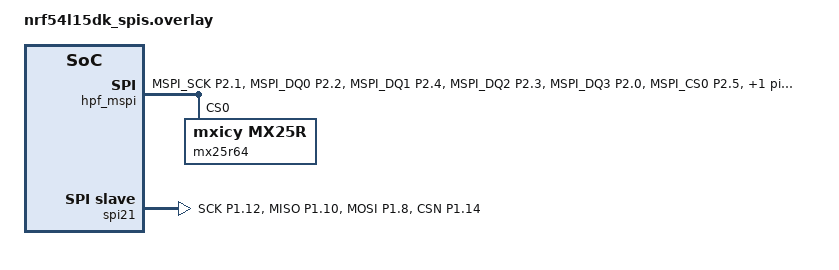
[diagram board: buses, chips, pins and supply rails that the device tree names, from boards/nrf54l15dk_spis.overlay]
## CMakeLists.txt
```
# Copyright (c) 2025 Nordic Semiconductor ASA
#
# SPDX-License-Identifier: LicenseRef-Nordic-5-Clause
#

cmake_minimum_required(VERSION 3.20.0)

find_package(Zephyr REQUIRED HINTS $ENV{ZEPHYR_BASE})
project(mspi_controller_peripheral)

FILE(GLOB app_sources src/main.c)

target_sources(app PRIVATE ${app_sources})
```

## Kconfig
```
# Copyright (c) 2025 Nordic Semiconductor ASA
#
# SPDX-License-Identifier: LicenseRef-Nordic-5-Clause
#

config TESTED_SPI_MODE
	int "SPI mode"
	default 0
	help
	  SPI mode value (clock polarity and phase) used in the test.
	  0: CPOL 0 (Active high), CPHA 0 (leading)
	  1: CPOL 0 (Active high), CPHA 1 (trailing)
	  2: CPOL 1 (Active low), CPHA 0 (leading)
	  3: CPOL 1 (Active low), CPHA 1 (trailing)

config TESTED_SPI_FREQUENCY
	int "SPI frequency"
	default 1000000
	help
	  SPI frequency used in the test, in Hz.

source "Kconfig.zephyr"
```

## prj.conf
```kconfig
CONFIG_GPIO=y
CONFIG_POLL=y
CONFIG_MBOX=y
CONFIG_IPC_SERVICE=y
CONFIG_IPC_SERVICE_BACKEND_ICMSG=y

CONFIG_SPI=y
CONFIG_SPI_SLAVE=y
CONFIG_SPI_ASYNC=y
CONFIG_MSPI=y

CONFIG_FLASH=y
CONFIG_FLASH_PAGE_LAYOUT=y

CONFIG_ZTEST=y

# Additional compiler flags
CONFIG_COMPILER_OPT="-fshort-enums"
```

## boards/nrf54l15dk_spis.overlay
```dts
/*
 * Copyright (c) 2025 Nordic Semiconductor ASA
 *
 * SPDX-License-Identifier: LicenseRef-Nordic-5-Clause
 */

/ {
	aliases {
		mspi0 = &hpf_mspi;
	};
};

&pinctrl {
	hpf_mspi_spi_default: hpf_mspi_spi_default {
		group1 {
			psels = <NRF_PSEL(HPF_MSPI_SCK, 2, 1)>,
				<NRF_PSEL(HPF_MSPI_DQ0, 2, 2)>,
				<NRF_PSEL(HPF_MSPI_DQ1, 2, 4)>,
				<NRF_PSEL(HPF_MSPI_DQ2, 2, 3)>,
				<NRF_PSEL(HPF_MSPI_DQ3, 2, 0)>,
				<NRF_PSEL(HPF_MSPI_CS0, 2, 5)>,
				<NRF_PSEL(HPF_MSPI_CS1, 2, 6)>;
			nordic,drive-mode = <NRF_DRIVE_S0S1>;
		};
	};

	hpf_mspi_spi_sleep: hpf_mspi_spi_sleep {
		group1 {
			psels = <NRF_PSEL(HPF_MSPI_SCK, 2, 1)>,
				<NRF_PSEL(HPF_MSPI_DQ0, 2, 2)>,
				<NRF_PSEL(HPF_MSPI_DQ1, 2, 4)>,
				<NRF_PSEL(HPF_MSPI_DQ2, 2, 3)>,
				<NRF_PSEL(HPF_MSPI_DQ3, 2, 0)>,
				<NRF_PSEL(HPF_MSPI_CS0, 2, 5)>,
				<NRF_PSEL(HPF_MSPI_CS1, 2, 6)>;
			low-power-enable;
		};
	};

	spi21_default_alt: spi21_default_alt {
		group1 {
			psels = <NRF_PSEL(SPIS_SCK, 1, 12)>,
				<NRF_PSEL(SPIS_MISO, 1, 10)>,
				<NRF_PSEL(SPIS_MOSI, 1, 8)>,
				<NRF_PSEL(SPIS_CSN, 1, 14)>;
		};
	};

	spi21_sleep_alt: spi21_sleep_alt {
		group1 {
			psels = <NRF_PSEL(SPIS_SCK, 1, 12)>,
				<NRF_PSEL(SPIS_MISO, 1, 10)>,
				<NRF_PSEL(SPIS_MOSI, 1, 8)>,
				<NRF_PSEL(SPIS_CSN, 1, 14)>;
			low-power-enable;
		};
	};
};

/delete-node/ &mx25r64;

&hpf_mspi {
	status = "okay";
	pinctrl-0 = <&hpf_mspi_spi_default>;
	pinctrl-1 = <&hpf_mspi_spi_sleep>;

	mx25r64: mx25r6435f@0 {
		compatible = "mxicy,mx25r","jedec,mspi-nor";
		status = "okay";
		reg = <0x0>;
		jedec-id = [c2 28 17];
		sfdp-bfp = [
			e5 20 f1 ff  ff ff ff 03  44 eb 08 6b  08 3b 04 bb
			ee ff ff ff  ff ff 00 ff  ff ff 00 ff  0c 20 0f 52
			10 d8 00 ff  23 72 f5 00  82 ed 04 cc  44 83 48 44
			30 b0 30 b0  f7 c4 d5 5c  00 be 29 ff  f0 d0 ff ff
		];
		size = <67108864>;
		has-dpd;
		t-enter-dpd = <10000>;
		t-exit-dpd = <35000>;
		t-reset-pulse = <10000>;
		t-reset-recovery = <35000>;

		mspi-max-frequency = <DT_FREQ_M(1)>;
		mspi-io-mode = "MSPI_IO_MODE_QUAD_1_4_4";
		mspi-data-rate = "MSPI_DATA_RATE_SINGLE";
		mspi-hardware-ce-num = <0>;
		mspi-cpp-mode = "MSPI_CPP_MODE_0";
		mspi-endian = "MSPI_BIG_ENDIAN";
		mspi-ce-polarity = "MSPI_CE_ACTIVE_LOW";

		quad-enable-requirements = "S1B6";
	};
};

dut_spis: &spi21 {
	compatible = "nordic,nrf-spis";
	status = "okay";
	def-char = <0x00>;
	pinctrl-0 = <&spi21_default_alt>;
	pinctrl-1 = <&spi21_sleep_alt>;
	pinctrl-names = "default", "sleep";
	/delete-property/rx-delay-supported;
	/delete-property/rx-delay;
};
```

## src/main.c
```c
/*
 * Copyright (c) 2025 Nordic Semiconductor ASA
 *
 * SPDX-License-Identifier: LicenseRef-Nordic-5-Clause
 */

#include <errno.h>
#include <string.h>
#include <zephyr/kernel.h>
#include <zephyr/devicetree.h>
#include <zephyr/drivers/mspi.h>
#include <zephyr/drivers/spi.h>
#include <zephyr/drivers/flash.h>
#include <zephyr/ztest.h>
#include <drivers/mspi/hpf_mspi.h>

#if CONFIG_TESTED_SPI_MODE == 0
#define SPI_MODE (SPI_WORD_SET(8) | SPI_LINES_SINGLE | SPI_TRANSFER_MSB)
#elif CONFIG_TESTED_SPI_MODE == 1
#define SPI_MODE (SPI_WORD_SET(8) | SPI_LINES_SINGLE | SPI_TRANSFER_LSB | SPI_MODE_CPHA)
#elif CONFIG_TESTED_SPI_MODE == 2
#define SPI_MODE (SPI_WORD_SET(8) | SPI_LINES_SINGLE | SPI_TRANSFER_LSB | SPI_MODE_CPOL)
#elif CONFIG_TESTED_SPI_MODE == 3
#define SPI_MODE                                                                                   \
	(SPI_WORD_SET(8) | SPI_LINES_SINGLE | SPI_TRANSFER_MSB | SPI_MODE_CPHA | SPI_MODE_CPOL)
#else
#error "Invalid SPI mode"
#endif

#define MSPI_BUS_NODE	    DT_ALIAS(mspi0)
#define SPIS_OP		    (SPI_OP_MODE_SLAVE | SPI_MODE)
#define TEST_AREA_OFFSET    0xff000
#define TEST_MEMORY_DEV_IDX 0
#define TEST_SPIS_DEV_IDX   1

static const struct device *mspi_devices[] = {
	DT_FOREACH_CHILD_STATUS_OKAY_SEP(MSPI_BUS_NODE, DEVICE_DT_GET, (,))
};

static struct mspi_dev_id dev_id[] = {
	{
		.dev_idx = TEST_MEMORY_DEV_IDX,
	},
	{
		.dev_idx = TEST_SPIS_DEV_IDX,
	},
};

static const struct device *mspi_bus = DEVICE_DT_GET(MSPI_BUS_NODE);
static const struct device *spis_dev = DEVICE_DT_GET(DT_NODELABEL(dut_spis));
static const struct spi_config spis_config = {
	.operation = SPIS_OP
};

static uint8_t mspi_buffer[32];
static uint8_t spis_buffer[32];

struct test_data {
	struct k_work_delayable test_work;
	struct k_sem sem;
	int mspi_alloc_idx;
	int spis_alloc_idx;
	struct spi_buf_set sets[4];
	struct spi_buf_set *mtx_set;
	struct spi_buf_set *mrx_set;
	struct spi_buf_set *stx_set;
	struct spi_buf_set *srx_set;
	struct spi_buf bufs[8];
	bool test_emu_spis_dev;
};

static struct test_data tdata;

/* Allocate buffer from mspi or spis space. */
static uint8_t *buf_alloc(size_t len, bool mspi)
{
	int *idx = mspi ? &tdata.mspi_alloc_idx : &tdata.spis_alloc_idx;
	uint8_t *buf = mspi ? mspi_buffer : spis_buffer;
	size_t total = mspi ? sizeof(mspi_buffer) : sizeof(spis_buffer);
	uint8_t *rv;

	if (*idx + len > total) {
		zassert_false(true);

		return NULL;
	}

	rv = &buf[*idx];
	*idx += len;

	return rv;
}

static void work_handler(struct k_work *work)
{
	struct k_work_delayable *dwork = k_work_delayable_from_work(work);
	struct test_data *td = CONTAINER_OF(dwork, struct test_data, test_work);
	int ret = 0;
	struct mspi_xfer_packet tx_packet = {
		.cmd = 0x55,
		.address = 0xAA,
		.dir = MSPI_TX,
		.num_bytes = (td->mtx_set != NULL) ? td->mtx_set->buffers[0].len : 0,
		.data_buf = (td->mtx_set != NULL) ? td->mtx_set->buffers[0].buf : NULL,
	};
	struct mspi_xfer_packet rx_packet = {
		.cmd = 0x55,
		.address = 0xAA,
		.dir = MSPI_RX,
		.num_bytes = (td->mrx_set != NULL) ? td->mrx_set->buffers[0].len : 0,
		.data_buf = (td->mrx_set != NULL) ? td->mrx_set->buffers[0].buf : NULL,
	};
	struct mspi_xfer xfer = {
		.xfer_mode = MSPI_PIO,
		.rx_dummy = 0,
		.cmd_length = 0,
		.addr_length = 0,
		.packets = &tx_packet,
		.num_packet = 1,
		.priority = 1,
		.timeout = 30,
	};

	if (td->test_emu_spis_dev == TEST_SPIS_DEV_IDX) {
		struct mspi_dev_cfg device_cfg = {
			.ce_num = TEST_SPIS_DEV_IDX,
			.freq = CONFIG_TESTED_SPI_FREQUENCY,
			.io_mode = MSPI_IO_MODE_SINGLE,
			.data_rate = MSPI_DATA_RATE_SINGLE,
#if CONFIG_TESTED_SPI_MODE == 0
			.cpp = MSPI_CPP_MODE_0,
			.endian = MSPI_XFER_BIG_ENDIAN,
#elif CONFIG_TESTED_SPI_MODE == 1
			.cpp = MSPI_CPP_MODE_1,
			.endian = MSPI_XFER_LITTLE_ENDIAN,
#elif CONFIG_TESTED_SPI_MODE == 2
			.cpp = MSPI_CPP_MODE_2,
			.endian = MSPI_XFER_LITTLE_ENDIAN,
#elif CONFIG_TESTED_SPI_MODE == 3
			.cpp = MSPI_CPP_MODE_3,
			.endian = MSPI_XFER_BIG_ENDIAN,
#endif
			.ce_polarity = MSPI_CE_ACTIVE_LOW,
		};

		ret = mspi_dev_config(mspi_bus, &dev_id[TEST_SPIS_DEV_IDX], MSPI_DEVICE_CONFIG_ALL,
				      &device_cfg);
		zassert_false(ret < 0, "mspi_dev_config() failed: %d", ret);

		/* write or/and read data to/from emulated spis device */
		if (td->mtx_set) {
			xfer.packets = &tx_packet;
			ret = mspi_transceive(mspi_bus, &dev_id[TEST_SPIS_DEV_IDX], &xfer);
		}
		if (td->mrx_set) {
			xfer.packets = &rx_packet;
			ret = mspi_transceive(mspi_bus, &dev_id[TEST_SPIS_DEV_IDX], &xfer);
		}
	} else {
		/* transfer data to memory */
		if (td->mtx_set) {
			ret = flash_write(mspi_devices[TEST_MEMORY_DEV_IDX], TEST_AREA_OFFSET,
					  td->mtx_set->buffers[0].buf, td->mtx_set->buffers[0].len);
			zassert_equal(ret, 0, "Cannot write flash");
		}
	}

	if (ret == 0) {
		k_sem_give(&td->sem);
	};
	zassert_equal(ret, 0, "transceive failed.");
}

/** Copies data from buffers in the set to a single buffer which makes it easier
 * to compare transmitted and received data.
 *
 * @param buf Output buffer.
 * @param len Buffer length.
 * @param set Set of buffers.
 *
 * @return Number of bytes copied.
 */
static int cpy_data(uint8_t *buf, size_t len, struct spi_buf_set *set)
{
	int idx = 0;

	for (size_t i = 0; i < set->count; i++) {
		size_t bytes = set->buffers[i].len;

		if (len - idx >= bytes) {
			memcpy(&buf[idx], set->buffers[i].buf, bytes);
			idx += bytes;
		} else {
			return -1;
		}
	}

	return idx;
}

static void to_display_format(const uint8_t *src, size_t size, char *dst)
{
	size_t i;

	for (i = 0; i < size; i++) {
		sprintf(dst + 5 * i, "0x%02x,", src[i]);
	}
}

/** Compare two sets.
 *
 * @param tx_set TX set.
 * @param rx_set RX set.
 * @param same_size True if it is expected to have the same amount of data in both sets.
 *
 * @return 0 if data is the same and other value indicate that check failed.
 */
static int check_buffers(struct spi_buf_set *tx_set, struct spi_buf_set *rx_set, bool same_size)
{
	static uint8_t tx_data[256];
	static uint8_t rx_data[256];
	int rx_len;
	int tx_len;

	if (!tx_set || !rx_set) {
		return 0;
	}

	rx_len = cpy_data(rx_data, sizeof(rx_data), rx_set);
	tx_len = cpy_data(tx_data, sizeof(tx_data), tx_set);
	if (same_size && (rx_len != tx_len)) {
		return -1;
	}

	if (memcmp(tx_data, rx_data, rx_len)) {
		/*
		 * We need 5x(buffer size) + 1 to print a comma-separated list of each
		 * byte in hex, plus a null.
		 */
		uint8_t buffer_print_tx[rx_len * 5 + 1];
		uint8_t buffer_print_rx[rx_len * 5 + 1];

		to_display_format(tx_data, rx_len, buffer_print_tx);
		to_display_format(rx_data, rx_len, buffer_print_rx);
		printf("Buffer contents are different:\nTX: %s\n", buffer_print_tx);
		printf("RX: %s\n", buffer_print_rx);
		return -1;
	}

	return 0;
}

/** Calculate expected number of received bytes by the SPI peripheral.
 *
 * It is used to check if SPI API call for peripheral SPI device returns correct value.
 * @param tx_set TX set.
 * @param rx_set RX set.
 *
 * @return Expected amount of received bytes.
 */
static int peripheral_rx_len(struct spi_buf_set *tx_set, struct spi_buf_set *rx_set)
{
	size_t tx_len = 0;
	size_t rx_len = 0;

	if (!tx_set || !rx_set) {
		return 0;
	}

	for (size_t i = 0; i < tx_set->count; i++) {
		tx_len += tx_set->buffers[i].len;
	}

	for (size_t i = 0; i < rx_set->count; i++) {
		rx_len += rx_set->buffers[i].len;
	}

	return MIN(rx_len, tx_len);
}

/** Generic function which runs the test with sets prepared in the test data structure. */
static void run_test(bool m_same_size, bool s_same_size, bool emu_spis_dev)
{
	int rv;
	int periph_rv;
	int srx_len;

	tdata.test_emu_spis_dev = emu_spis_dev;

	rv = k_work_schedule(&tdata.test_work, K_MSEC(10));
	zassert_equal(rv, 1);

	if (emu_spis_dev) {
		if (tdata.srx_set) {
			periph_rv = spi_transceive(spis_dev, &spis_config, NULL, tdata.srx_set);
			if (periph_rv == -ENOTSUP) {
				ztest_test_skip();
			}
		}

		if (tdata.stx_set) {
			if (-ENOTSUP ==
			    spi_transceive(spis_dev, &spis_config, tdata.stx_set, NULL)) {
				ztest_test_skip();
			}
		}
	} else {
		if (tdata.srx_set) {
			rv = flash_read(mspi_devices[TEST_MEMORY_DEV_IDX], TEST_AREA_OFFSET,
					tdata.srx_set->buffers[0].buf,
					tdata.srx_set->buffers[0].len);
			zassert_equal(rv, 0, "Cannot read flash");
		}
	}

	rv = k_sem_take(&tdata.sem, K_MSEC(100));
	zassert_equal(rv, 0);

	/* This releases the MSPI controller. */
	(void)mspi_get_channel_status(mspi_bus, 0);

	if (emu_spis_dev && tdata.srx_set) {
		srx_len = peripheral_rx_len(tdata.mtx_set, tdata.srx_set);
		zassert_equal(periph_rv, srx_len, "Got: %d but expected:%d", periph_rv, srx_len);
	}

	rv = check_buffers(tdata.mtx_set, tdata.srx_set, m_same_size);
	zassert_equal(rv, 0);

	rv = check_buffers(tdata.stx_set, tdata.mrx_set, s_same_size);
	zassert_equal(rv, 0);
}

/** Basic test where SPI controller and SPI peripheral have RX and TX sets which contains only one
 *  same size buffer.
 */
ZTEST(mspi_controller_peripheral, test_basic)
{
	size_t len = 16;

	for (int i = 0; i < 4; i++) {
		tdata.bufs[i].buf = buf_alloc(len, i < 2);
		tdata.bufs[i].len = len;
		tdata.sets[i].buffers = &tdata.bufs[i];
		tdata.sets[i].count = 1;
	}

	tdata.mtx_set = &tdata.sets[0];
	tdata.mrx_set = &tdata.sets[1];
	tdata.stx_set = &tdata.sets[2];
	tdata.srx_set = &tdata.sets[3];

	run_test(true, true, true);
	run_test(true, true, false);
}

/** Basic test with zero length buffers.
 */
ZTEST(mspi_controller_peripheral, test_basic_zero_len)
{
	size_t len = 8;

	/* SPIM */
	tdata.bufs[0].buf = buf_alloc(len, true);
	tdata.bufs[0].len = len;
	tdata.bufs[1].buf = buf_alloc(len, true);
	/* Intentionally len was set to 0 - second buffer "is empty". */
	tdata.bufs[1].len = 0;
	tdata.sets[0].buffers = &tdata.bufs[0];
	tdata.sets[0].count = 2;
	tdata.mtx_set = &tdata.sets[0];

	tdata.bufs[2].buf = buf_alloc(len, true);
	tdata.bufs[2].len = len;
	tdata.bufs[3].buf = buf_alloc(len, true);
	/* Intentionally len was set to 0 - second buffer "is empty". */
	tdata.bufs[3].len = 0;
	tdata.sets[1].buffers = &tdata.bufs[2];
	tdata.sets[1].count = 2;
	tdata.mrx_set = &tdata.sets[1];

	/* SPIS */
	tdata.bufs[4].buf = buf_alloc(len, false);
	tdata.bufs[4].len = len;
	tdata.sets[2].buffers = &tdata.bufs[4];
	tdata.sets[2].count = 1;
	tdata.stx_set = &tdata.sets[2];

	tdata.bufs[6].buf = buf_alloc(len, false);
	tdata.bufs[6].len = len;
	tdata.sets[3].buffers = &tdata.bufs[6];
	tdata.sets[3].count = 1;
	tdata.srx_set = &tdata.sets[3];

	run_test(true, true, true);
	run_test(true, true, false);
}

/** Setup a transfer where RX buffer on SPI controller and SPI peripheral are
 *  shorter than TX buffers. RX buffers shall contain beginning of TX data
 *  and last TX bytes that did not fit in the RX buffers shall be lost.
 */
ZTEST(mspi_controller_peripheral, test_short_rx)
{
	size_t len = 16;

	tdata.bufs[0].buf = buf_alloc(len, true);
	tdata.bufs[0].len = len;
	tdata.bufs[1].buf = buf_alloc(len, true);
	tdata.bufs[1].len = len - 3; /* RX buffer */
	tdata.bufs[2].buf = buf_alloc(len, false);
	tdata.bufs[2].len = len;
	tdata.bufs[3].buf = buf_alloc(len, false);
	tdata.bufs[3].len = len - 4; /* RX buffer */

	for (int i = 0; i < 4; i++) {
		tdata.sets[i].buffers = &tdata.bufs[i];
		tdata.sets[i].count = 1;
	}

	tdata.mtx_set = &tdata.sets[0];
	tdata.mrx_set = &tdata.sets[1];
	tdata.stx_set = &tdata.sets[2];
	tdata.srx_set = &tdata.sets[3];

	run_test(false, false, true);
	run_test(false, false, false);
}

/** Test where only master transmits. */
ZTEST(mspi_controller_peripheral, test_only_tx)
{
	size_t len = 16;

	/* MTX buffer */
	tdata.bufs[0].buf = buf_alloc(len, true);
	tdata.bufs[0].len = len;
	tdata.sets[0].buffers = &tdata.bufs[0];
	tdata.sets[0].count = 1;
	tdata.mtx_set = &tdata.sets[0];
	tdata.mrx_set = NULL;

	/* STX buffer */
	tdata.bufs[1].buf = buf_alloc(len, false);
	tdata.bufs[1].len = len;
	tdata.sets[1].buffers = &tdata.bufs[1];
	tdata.sets[1].count = 1;
	tdata.srx_set = &tdata.sets[1];
	tdata.stx_set = NULL;

	run_test(true, true, true);
	run_test(true, true, false);
}

/** Test where only SPI controller transmits and SPI peripheral receives in chunks. */
ZTEST(mspi_controller_peripheral, test_only_tx_in_chunks)
{
	size_t len1 = 7;
	size_t len2 = 8;

	/* MTX buffer */
	tdata.bufs[0].buf = buf_alloc(len1 + len2, true);
	tdata.bufs[0].len = len1 + len2;
	tdata.sets[0].buffers = &tdata.bufs[0];
	tdata.sets[0].count = 1;
	tdata.mtx_set = &tdata.sets[0];
	tdata.mrx_set = NULL;

	/* STX buffer */
	tdata.bufs[1].buf = buf_alloc(len1, false);
	tdata.bufs[1].len = len1;
	tdata.bufs[2].buf = buf_alloc(len2, false);
	tdata.bufs[2].len = len2;
	tdata.sets[1].buffers = &tdata.bufs[1];
	tdata.sets[1].count = 2;
	tdata.srx_set = &tdata.sets[1];
	tdata.stx_set = NULL;

	run_test(true, true, true);
	run_test(true, true, false);
}

/** Test where only SPI peripheral transmits. */
ZTEST(mspi_controller_peripheral, test_only_rx)
{
	size_t len = 16;

	/* MTX buffer */
	tdata.bufs[0].buf = buf_alloc(len, true);
	tdata.bufs[0].len = len;
	tdata.sets[0].buffers = &tdata.bufs[0];
	tdata.sets[0].count = 1;
	tdata.mrx_set = &tdata.sets[0];
	tdata.mtx_set = NULL;

	/* STX buffer */
	tdata.bufs[1].buf = buf_alloc(len, false);
	tdata.bufs[1].len = len;
	tdata.sets[1].buffers = &tdata.bufs[1];
	tdata.sets[1].count = 1;
	tdata.stx_set = &tdata.sets[1];
	tdata.srx_set = NULL;

	run_test(true, true, true);
	run_test(true, true, false);
}

/** Test where only SPI peripheral transmits in chunks. */
ZTEST(mspi_controller_peripheral, test_only_rx_in_chunks)
{
	size_t len1 = 7;
	size_t len2 = 9;

	/* MTX buffer */
	tdata.bufs[0].buf = buf_alloc(len1 + len2, true);
	tdata.bufs[0].len = len1 + len2;
	tdata.sets[0].buffers = &tdata.bufs[0];
	tdata.sets[0].count = 1;
	tdata.mrx_set = &tdata.sets[0];
	tdata.mtx_set = NULL;

	/* STX buffer */
	tdata.bufs[1].buf = buf_alloc(len1, false);
	tdata.bufs[1].len = len1;
	tdata.bufs[2].buf = buf_alloc(len2, false);
	tdata.bufs[2].len = len2;
	tdata.sets[1].buffers = &tdata.bufs[1];
	tdata.sets[1].count = 2;
	tdata.stx_set = &tdata.sets[1];
	tdata.srx_set = NULL;

	run_test(true, true, true);
	run_test(true, true, false);
}

static void before(void *not_used)
{
	ARG_UNUSED(not_used);

	memset(&tdata, 0, sizeof(tdata));
	for (size_t i = 0; i < sizeof(mspi_buffer); i++) {
		mspi_buffer[i] = (uint8_t)i;
	}
	for (size_t i = 0; i < sizeof(spis_buffer); i++) {
		spis_buffer[i] = (uint8_t)(i + 0x80);
	}

	k_work_init_delayable(&tdata.test_work, work_handler);
	k_sem_init(&tdata.sem, 0, 1);
}

static void after(void *not_used)
{
	ARG_UNUSED(not_used);

	k_work_cancel_delayable(&tdata.test_work);
}

ZTEST_SUITE(mspi_controller_peripheral, NULL, NULL, before, after, NULL);
```
